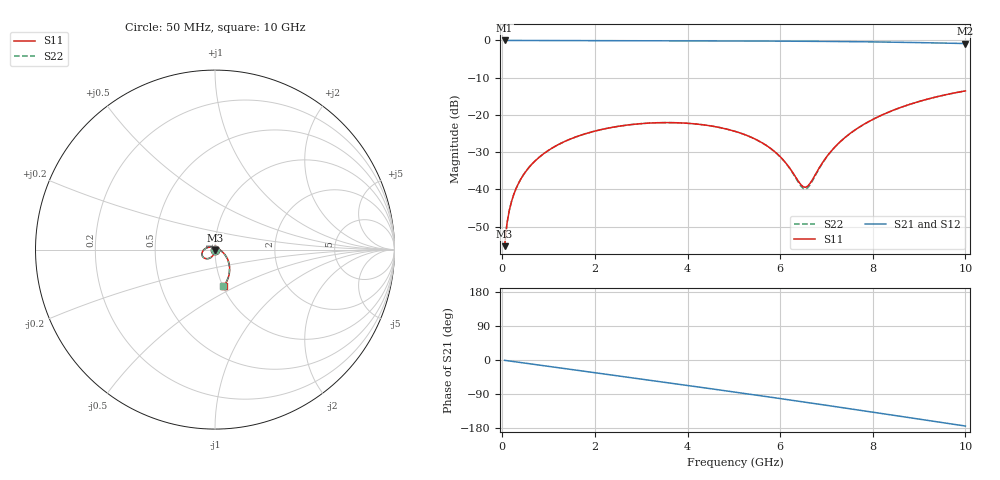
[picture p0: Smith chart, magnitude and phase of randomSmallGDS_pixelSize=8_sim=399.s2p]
! freq	dB(S11)	phase(S11)	dB(S12)	phase(S12)
!  dB(S21)	phase(S21)	dB(S22)	phase(S22)
!S-par simulation data
#  GHz  S  DB  R 50
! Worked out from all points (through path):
!   200 points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, 50 MHz to 10 GHz, reference 50 ohm
!   highest |S21| = 0.00 dB at 50 MHz (marker M1); lowest = -0.8 dB at 10 GHz (marker M2)
!   group delay of S21, straight-line fit = 48.3 ps
!   lowest |S11| = -55.3 dB at 50 MHz (marker M3), VSWR 1.00, Z = 50 - j0.172 ohm
!   |S11| at or under -10 dB: start of sweep to end of sweep
!   |S22| runs from -55.3 to -13.6 dB; largest |S21 - S12| = 0
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0.05  -55.27 -90.3  -0.00 -0.9  -0.00 -0.9  -55.27 -90.3
0.1  -49.26 -91.5  -0.01 -1.7  -0.01 -1.7  -49.25 -91.5
0.2  -43.24 -93.6  -0.01 -3.4  -0.01 -3.4  -43.24 -93.6
0.35  -38.39 -96.4  -0.01 -5.9  -0.01 -5.9  -38.39 -96.4
0.5  -35.32 -99.1  -0.01 -8.4  -0.01 -8.4  -35.32 -99.1
1  -29.50 -107.9  -0.02 -16.8  -0.02 -16.8  -29.50 -107.9
1.75  -25.24 -120.9  -0.04 -29.4  -0.04 -29.4  -25.24 -120.9
2.55  -22.99 -134.7  -0.07 -42.8  -0.07 -42.8  -22.99 -134.6
3.4  -22.09 -149.6  -0.09 -57.1  -0.09 -57.1  -22.09 -149.5
4.3  -22.60 -166.1  -0.12 -72.3  -0.12 -72.3  -22.61 -165.9
5.05  -24.51 178.6  -0.14 -85.2  -0.14 -85.2  -24.52 178.9
5.5  -26.75 167.5  -0.16 -93.0  -0.16 -93.0  -26.76 168.0
5.9  -30.07 154.0  -0.18 -100.0  -0.18 -100.0  -30.10 154.8
6.15  -33.35 139.7  -0.19 -104.4  -0.19 -104.4  -33.44 141.0
6.5  -39.33 83.1  -0.21 -110.6  -0.21 -110.6  -39.79 84.0
6.6  -39.08 54.4  -0.22 -112.4  -0.22 -112.4  -39.55 53.8
6.7  -37.33 30.9  -0.23 -114.2  -0.23 -114.2  -37.66 29.5
7  -31.32 -2.9  -0.26 -119.6  -0.26 -119.6  -31.42 -4.1
7.35  -26.61 -19.0  -0.30 -125.9  -0.30 -125.9  -26.65 -19.9
7.8  -22.59 -32.0  -0.36 -134.0  -0.36 -134.0  -22.61 -32.7
8.35  -19.21 -44.6  -0.45 -144.1  -0.45 -144.1  -19.23 -45.1
10  -13.55 -76.9  -0.83 -174.3  -0.83 -174.3  -13.55 -77.2
